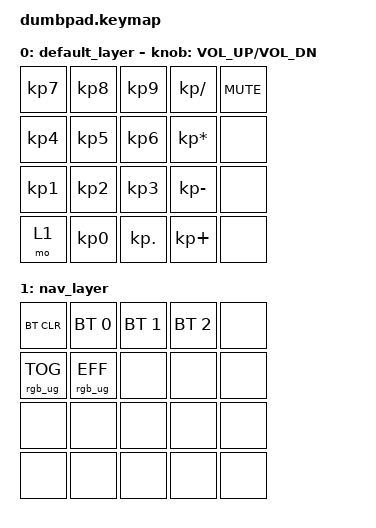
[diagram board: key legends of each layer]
#include <behaviors.dtsi>
#include <dt-bindings/zmk/keys.h>
#include <dt-bindings/zmk/bt.h>
#include <dt-bindings/zmk/rgb.h>

/ {
    chosen {
        zmk,physical-layout = &default_layout;
    };

    keymap {
        compatible = "zmk,keymap";

        default_layer {
            bindings = <
                &kp KP_N7    &kp KP_N8    &kp KP_N9    &kp KP_DIVIDE  &kp C_MUTE
                &kp KP_N4    &kp KP_N5    &kp KP_N6    &kp KP_MULTIPLY &none
                &kp KP_N1    &kp KP_N2    &kp KP_N3    &kp KP_MINUS    &none
                &mo 1        &kp KP_N0    &kp KP_DOT   &kp KP_PLUS     &none
            >;

            sensor-bindings = <&inc_dec_kp C_VOL_UP C_VOL_DN>;
        };

        nav_layer {
            bindings = <
                &bt BT_CLR   &bt BT_SEL 0 &bt BT_SEL 1 &bt BT_SEL 2    &none
                &rgb_ug RGB_TOG &rgb_ug RGB_EFF &none &none            &none
                &none        &none        &none        &none           &none
                &none        &none        &none        &none           &none
            >;
        };
    };
};
